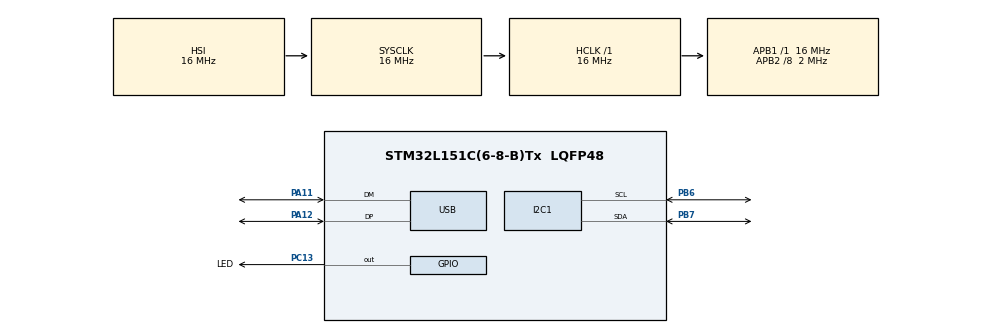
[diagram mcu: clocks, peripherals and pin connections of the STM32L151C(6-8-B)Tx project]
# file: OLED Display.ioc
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Mcu.Family=STM32L1
Mcu.Name=STM32L151C(6-8-B)Tx
Mcu.Package=LQFP48
NVIC.PriorityGroup=NVIC_PRIORITYGROUP_4
NVIC.USB_LP_IRQn=true\:0\:0\:false\:false\:true\:false\:true\:true
PA11.Mode=Device
PA11.Signal=USB_DM
PA12.Mode=Device
PA12.Signal=USB_DP
PA13.Mode=Trace_Asynchronous_SW
PA13.Signal=SYS_JTMS-SWDIO
PA14.Mode=Trace_Asynchronous_SW
PA14.Signal=SYS_JTCK-SWCLK
PB3.Mode=Trace_Asynchronous_SW
PB3.Signal=SYS_JTDO-TRACESWO
PB6.Mode=I2C
PB6.Signal=I2C1_SCL
PB7.Mode=I2C
PB7.Signal=I2C1_SDA
PC13-WKUP2.GPIO_Label=LED
PC13-WKUP2.Signal=GPIO_Output
PH0-OSC_IN.Mode=HSE-External-Oscillator
PH0-OSC_IN.Signal=RCC_OSC_IN
PH1-OSC_OUT.Mode=HSE-External-Oscillator
PH1-OSC_OUT.Signal=RCC_OSC_OUT
ProjectManager.HeapSize=0x200
ProjectManager.StackSize=0x400
ProjectManager.TargetToolchain=STM32CubeIDE
RCC.48MHZClocksFreq_Value=48000000
RCC.AHBFreq_Value=16000000
RCC.APB1Freq_Value=16000000
RCC.APB1TimFreq_Value=16000000
RCC.APB2CLKDivider=RCC_HCLK_DIV8
RCC.APB2Freq_Value=2000000
RCC.APB2TimFreq_Value=4000000
RCC.HCLKFreq_Value=16000000
RCC.HSE_VALUE=16000000
RCC.HSI_VALUE=16000000
RCC.LSE_VALUE=32768
RCC.MSI_VALUE=2097000
RCC.PLLMUL=RCC_PLL_MUL6
RCC.SYSCLKFreq_VALUE=16000000
RCC.SYSCLKSource=RCC_SYSCLKSOURCE_HSI
RCC.VCOOutputFreq_Value=96000000
USB.low_power_enable=DISABLE
USB.lpm_enable=DISABLE
USB_DEVICE.CLASS_NAME_FS=CDC
USB_DEVICE.VirtualMode=Cdc
USB_DEVICE.VirtualModeFS=Cdc_FS
VP_USB_DEVICE_VS_USB_DEVICE_CDC_FS.Mode=CDC_FS
board=custom

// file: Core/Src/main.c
/* USER CODE BEGIN Header */
/**
  ******************************************************************************
  * @file           : main.c
  * @brief          : Main program body
  ******************************************************************************
  * @attention
  *
  * Copyright (c) 2023 STMicroelectronics.
  * All rights reserved.
  *
  * This software is licensed under terms that can be found in the LICENSE file
  * in the root directory of this software component.
  * If no LICENSE file comes with this software, it is provided AS-IS.
  *
  ******************************************************************************
  */
/* USER CODE END Header */
#include "main.h"
#include "usb_device.h"

/* USER CODE BEGIN Includes */
#include "ssd1306.h"
#include "fonts.h"

/* USER CODE END Includes */

I2C_HandleTypeDef hi2c1;

void SystemClock_Config(void);
static void MX_GPIO_Init(void);
static void MX_I2C1_Init(void);

int main(void)
{

  /* MCU Configuration--------------------------------------------------------*/

  /* Reset of all peripherals, Initializes the Flash interface and the Systick. */
  HAL_Init();

  /* Configure the system clock */
  SystemClock_Config();

  /* Initialize all configured peripherals */
  MX_GPIO_Init();
  MX_I2C1_Init();
  MX_USB_DEVICE_Init();
  /* USER CODE BEGIN 2 */

  // Init display
  if (ssd1306_Init(&hi2c1) != 0) {
    Error_Handler();
  }
  HAL_Delay(1000);

  ssd1306_Fill(Black);
  ssd1306_UpdateScreen(&hi2c1);

  HAL_Delay(1000);

  // Write data to local screenbuffer
  ssd1306_SetCursor(0, 0);
  ssd1306_WriteString("NSE Labs", Font_11x18, White);

  ssd1306_SetCursor(0, 36);
  ssd1306_WriteString("OLED", Font_11x18, White);

  // Draw rectangle on screen
  for (uint8_t i=0; i<28; i++) {
      for (uint8_t j=0; j<64; j++) {
          ssd1306_DrawPixel(100+i, 0+j, White);
      }
  }

  // Copy all data from local screenbuffer to the screen
  ssd1306_UpdateScreen(&hi2c1);

  /* USER CODE END 2 */

  /* Infinite loop */
  while (1)
  {

    /* USER CODE BEGIN 3 */

	HAL_Delay(500);

  }
  /* USER CODE END 3 */
}

void SystemClock_Config(void)
{
  RCC_OscInitTypeDef RCC_OscInitStruct = {0};
  RCC_ClkInitTypeDef RCC_ClkInitStruct = {0};

  /** Configure the main internal regulator output voltage
  */
  __HAL_PWR_VOLTAGESCALING_CONFIG(PWR_REGULATOR_VOLTAGE_SCALE1);

  /** Initializes the RCC Oscillators according to the specified parameters
  * in the RCC_OscInitTypeDef structure.
  */
  RCC_OscInitStruct.OscillatorType = RCC_OSCILLATORTYPE_HSI|RCC_OSCILLATORTYPE_HSE;
  RCC_OscInitStruct.HSEState = RCC_HSE_ON;
  RCC_OscInitStruct.HSIState = RCC_HSI_ON;
  RCC_OscInitStruct.HSICalibrationValue = RCC_HSICALIBRATION_DEFAULT;
  RCC_OscInitStruct.PLL.PLLState = RCC_PLL_ON;
  RCC_OscInitStruct.PLL.PLLSource = RCC_PLLSOURCE_HSE;
  RCC_OscInitStruct.PLL.PLLMUL = RCC_PLL_MUL6;
  RCC_OscInitStruct.PLL.PLLDIV = RCC_PLL_DIV2;
  if (HAL_RCC_OscConfig(&RCC_OscInitStruct) != HAL_OK)
  {
    Error_Handler();
  }

  /** Initializes the CPU, AHB and APB buses clocks
  */
  RCC_ClkInitStruct.ClockType = RCC_CLOCKTYPE_HCLK|RCC_CLOCKTYPE_SYSCLK
                              |RCC_CLOCKTYPE_PCLK1|RCC_CLOCKTYPE_PCLK2;
  RCC_ClkInitStruct.SYSCLKSource = RCC_SYSCLKSOURCE_HSI;
  RCC_ClkInitStruct.AHBCLKDivider = RCC_SYSCLK_DIV1;
  RCC_ClkInitStruct.APB1CLKDivider = RCC_HCLK_DIV1;
  RCC_ClkInitStruct.APB2CLKDivider = RCC_HCLK_DIV8;

  if (HAL_RCC_ClockConfig(&RCC_ClkInitStruct, FLASH_LATENCY_0) != HAL_OK)
  {
    Error_Handler();
  }
}

static void MX_I2C1_Init(void)
{

  hi2c1.Instance = I2C1;
  hi2c1.Init.ClockSpeed = 100000;
  hi2c1.Init.DutyCycle = I2C_DUTYCYCLE_2;
  hi2c1.Init.OwnAddress1 = 0;
  hi2c1.Init.AddressingMode = I2C_ADDRESSINGMODE_7BIT;
  hi2c1.Init.DualAddressMode = I2C_DUALADDRESS_DISABLE;
  hi2c1.Init.OwnAddress2 = 0;
  hi2c1.Init.GeneralCallMode = I2C_GENERALCALL_DISABLE;
  hi2c1.Init.NoStretchMode = I2C_NOSTRETCH_DISABLE;
  if (HAL_I2C_Init(&hi2c1) != HAL_OK)
  {
    Error_Handler();
  }

}

static void MX_GPIO_Init(void)
{
  GPIO_InitTypeDef GPIO_InitStruct = {0};

  /* GPIO Ports Clock Enable */
  __HAL_RCC_GPIOC_CLK_ENABLE();
  __HAL_RCC_GPIOH_CLK_ENABLE();
  __HAL_RCC_GPIOA_CLK_ENABLE();
  __HAL_RCC_GPIOB_CLK_ENABLE();

  /*Configure GPIO pin Output Level */
  HAL_GPIO_WritePin(LED_GPIO_Port, LED_Pin, GPIO_PIN_RESET);

  /*Configure GPIO pin : LED_Pin */
  GPIO_InitStruct.Pin = LED_Pin;
  GPIO_InitStruct.Mode = GPIO_MODE_OUTPUT_PP;
  GPIO_InitStruct.Pull = GPIO_NOPULL;
  GPIO_InitStruct.Speed = GPIO_SPEED_FREQ_LOW;
  HAL_GPIO_Init(LED_GPIO_Port, &GPIO_InitStruct);

}

void Error_Handler(void)
{
  __disable_irq();
  while (1)
  {
  }
}
